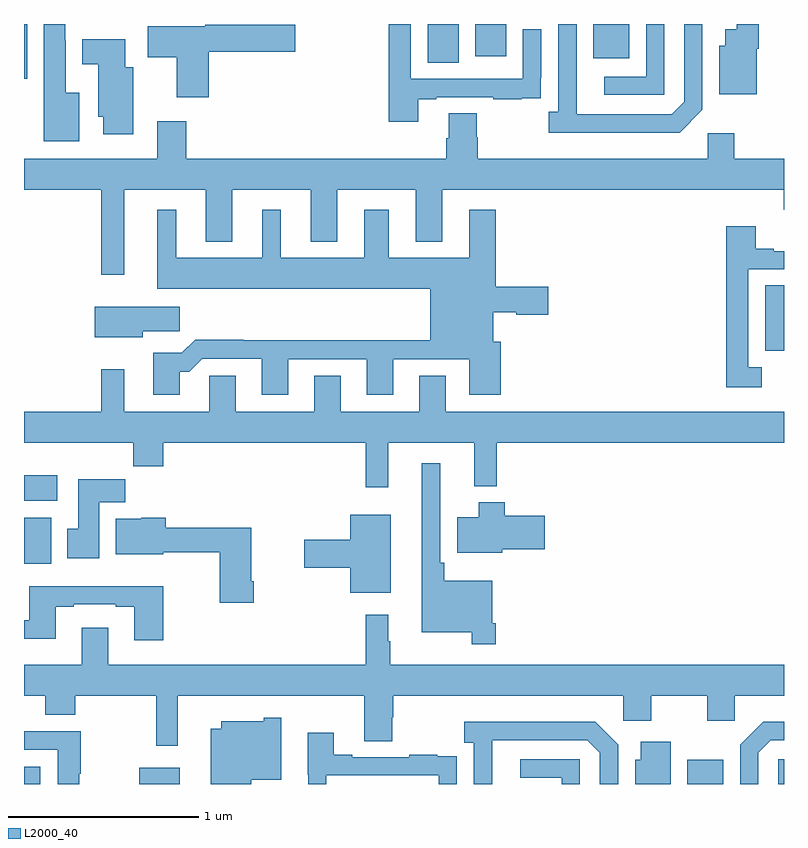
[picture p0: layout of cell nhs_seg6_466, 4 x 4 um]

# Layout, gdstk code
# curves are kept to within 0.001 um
import gdstk
lib = gdstk.Library(unit=1e-6, precision=1e-09)
def R(c, l, rs):  # rectangles x0, y0, x1, y1
    for r in rs: c.add(gdstk.rectangle(r[:2], r[2:], *l))
def P(c, l, *ps):  # polygons
    for p in ps: c.add(gdstk.Polygon(p, *l))
L2000_40 = (2000, 40)

nhs_seg6_466 = lib.new_cell('nhs_seg6_466')
R(nhs_seg6_466, L2000_40, [(137,985.5,137.086,985.591), (137.606,985.5,137.821,985.585), (140.492,985.5,140.68,985.627), (140.97,985.5,141,985.629), (137,986.66,137.143,986.902), (137,986.99,137.176,987.124), (140.9,987.781,141,988.124), (137,989.213,137.017,989.5), (139.124,989.296,139.288,989.5), (139.997,989.321,140.185,989.5), (139.376,989.331,139.537,989.5)])
P(nhs_seg6_466, L2000_40, [(140.856,989.369),(140.867,989.369),(140.867,989.5),(140.75,989.5),(140.75,989.473),(140.69,989.473),(140.69,989.386),(140.66,989.386),(140.66,989.129),(140.856,989.129)],
  [(140.571,989.049),(140.571,989.5),(140.475,989.5),(140.475,989.091),(140.409,989.025),(139.909,989.025),(139.908,989.5),(139.812,989.5),(139.812,989.038),(139.761,989.038),(139.761,988.928),(140.45,988.928)],
  [(139.075,989.103),(139.171,989.103),(139.171,989.115),(139.471,989.115),(139.471,989.103),(139.619,989.103),(139.619,989.109),(139.721,989.109),(139.721,989.218),(139.722,989.218),(139.722,989.473),(139.626,989.473),(139.626,989.211),(139.035,989.211),(139.035,989.5),(138.919,989.5),(138.919,988.986),(139.075,988.986)],
  [(140.37,989.5),(140.274,989.5),(140.274,989.223),(140.055,989.223),(140.055,989.127),(140.37,989.127)],
  [(137.29,989.137),(137.221,989.137),(137.221,989.411),(137.217,989.411),(137.217,989.5),(137.105,989.5),(137.105,988.883),(137.29,988.883)],
  [(137.972,989.354),(138.427,989.354),(138.427,989.496),(137.955,989.496),(137.955,989.488),(137.652,989.488),(137.652,989.326),(137.804,989.326),(137.804,989.115),(137.972,989.115)],
  [(137.575,989.272),(137.533,989.272),(137.533,989.419),(137.306,989.419),(137.306,989.288),(137.39,989.288),(137.39,989.013),(137.417,989.013),(137.417,988.92),(137.575,988.92)],
  [(137.527,988.628),(137.957,988.628),(137.957,988.355),(138.097,988.355),(138.097,988.628),(138.509,988.628),(138.509,988.355),(138.649,988.355),(138.649,988.628),(139.061,988.628),(139.061,988.355),(139.201,988.355),(139.201,988.628),(140.999,988.628),(140.999,988.522),(141,988.522),(141,988.792),(140.737,988.792),(140.737,988.924),(140.598,988.924),(140.598,988.792),(139.388,988.792),(139.388,988.905),(139.383,988.905),(139.383,989.03),(139.235,989.03),(139.235,988.898),(139.223,988.898),(139.223,988.792),(137.855,988.792),(137.855,988.987),(137.702,988.987),(137.702,988.792),(137,988.792),(137,988.628),(137.406,988.628),(137.406,988.179),(137.527,988.179)],
  [(137.821,987.671),(137.87,987.671),(137.937,987.738),(138.251,987.738),(138.251,987.549),(138.391,987.549),(138.391,987.735),(138.803,987.735),(138.803,987.549),(138.943,987.549),(138.943,987.735),(139.343,987.735),(139.343,987.549),(139.508,987.549),(139.508,987.828),(139.471,987.828),(139.471,987.983),(139.591,987.983),(139.591,987.971),(139.759,987.971),(139.759,988.118),(139.484,988.118),(139.484,988.522),(139.343,988.522),(139.343,988.27),(138.919,988.27),(138.919,988.522),(138.791,988.522),(138.791,988.27),(138.352,988.27),(138.352,988.522),(138.254,988.522),(138.254,988.27),(137.8,988.27),(137.8,988.522),(137.702,988.522),(137.702,988.106),(139.139,988.106),(139.139,987.836),(138.155,987.836),(138.155,987.839),(137.9,987.839),(137.83,987.769),(137.681,987.769),(137.681,987.549),(137.821,987.549)],
  [(140.884,987.693),(140.811,987.693),(140.811,988.209),(141,988.209),(141,988.305),(140.947,988.305),(140.947,988.318),(140.851,988.318),(140.851,988.435),(140.695,988.435),(140.695,987.588),(140.884,987.588)],
  [(137.626,987.883),(137.821,987.883),(137.821,988.012),(137.372,988.012),(137.372,987.851),(137.626,987.851)],
  [(138.917,987.296),(139.37,987.296),(139.37,987.068),(139.487,987.068),(139.487,987.296),(141,987.296),(141,987.46),(139.219,987.46),(139.219,987.65),(139.079,987.65),(139.079,987.46),(138.667,987.46),(138.667,987.65),(138.527,987.65),(138.527,987.46),(138.115,987.46),(138.115,987.65),(137.976,987.65),(137.976,987.46),(137.527,987.46),(137.527,987.682),(137.406,987.682),(137.406,987.46),(137,987.46),(137,987.296),(137.575,987.296),(137.575,987.172),(137.732,987.172),(137.732,987.296),(138.799,987.296),(138.799,987.063),(138.917,987.063)],
  [(139.484,986.347),(139.464,986.347),(139.464,986.569),(139.211,986.569),(139.211,986.665),(139.191,986.665),(139.191,987.187),(139.094,987.187),(139.094,986.3),(139.356,986.3),(139.356,986.235),(139.484,986.235)],
  [(137.395,986.984),(137.534,986.984),(137.534,987.103),(137.285,987.103),(137.285,986.844),(137.228,986.844),(137.228,986.688),(137.395,986.688)],
  [(139.516,986.735),(139.741,986.735),(139.741,986.913),(139.529,986.913),(139.529,986.983),(139.394,986.983),(139.394,986.905),(139.28,986.905),(139.28,986.717),(139.516,986.717)],
  [(138.931,986.917),(138.716,986.917),(138.716,986.786),(138.474,986.786),(138.474,986.639),(138.716,986.639),(138.716,986.507),(138.931,986.507)],
  [(138.209,986.566),(138.196,986.566),(138.196,986.848),(137.747,986.848),(137.747,986.902),(137.616,986.902),(137.616,986.896),(137.483,986.896),(137.483,986.708),(137.734,986.708),(137.734,986.719),(138.031,986.719),(138.031,986.454),(138.209,986.454)],
  [(137.732,986.542),(137.027,986.542),(137.027,986.361),(137,986.361),(137,986.264),(137.167,986.264),(137.167,986.433),(137.263,986.433),(137.263,986.445),(137.483,986.445),(137.483,986.433),(137.579,986.433),(137.579,986.256),(137.732,986.256)],
  [(137.808,985.964),(138.791,985.964),(138.791,985.726),(138.939,985.726),(138.939,985.851),(138.944,985.851),(138.944,985.964),(140.154,985.964),(140.154,985.833),(140.301,985.833),(140.301,985.964),(140.596,985.964),(140.596,985.833),(140.742,985.833),(140.742,985.964),(141,985.964),(141,986.128),(138.928,986.128),(138.928,986.252),(138.916,986.252),(138.916,986.392),(138.799,986.392),(138.799,986.128),(137.443,986.128),(137.443,986.323),(137.303,986.323),(137.303,986.128),(137,986.128),(137,985.964),(137.111,985.964),(137.111,985.865),(137.271,985.865),(137.271,985.964),(137.697,985.964),(137.697,985.701),(137.808,985.701)],
  [(138.196,985.523),(138.355,985.523),(138.355,985.849),(138.261,985.849),(138.261,985.831),(138.038,985.831),(138.038,985.792),(137.984,985.792),(137.984,985.5),(138.196,985.5)],
  [(139.464,985.531),(139.465,985.731),(139.965,985.731),(140.031,985.665),(140.031,985.5),(140.127,985.5),(140.127,985.707),(140.006,985.828),(139.317,985.828),(139.317,985.718),(139.368,985.718),(139.368,985.5),(139.464,985.5)],
  [(140.865,985.665),(140.931,985.731),(141,985.731),(141,985.828),(140.89,985.828),(140.769,985.707),(140.769,985.5),(140.865,985.5)],
  [(137.29,985.555),(137.298,985.555),(137.298,985.778),(137,985.778),(137,985.68),(137.177,985.68),(137.177,985.5),(137.29,985.5)],
  [(138.591,985.545),(139.182,985.545),(139.182,985.5),(139.278,985.5),(139.278,985.538),(139.277,985.538),(139.277,985.647),(139.175,985.647),(139.175,985.654),(139.027,985.654),(139.027,985.641),(138.727,985.641),(138.727,985.654),(138.631,985.654),(138.631,985.771),(138.494,985.771),(138.494,985.548),(138.495,985.548),(138.495,985.5),(138.591,985.5)],
  [(140.404,985.723),(140.246,985.723),(140.246,985.627),(140.216,985.627),(140.216,985.5),(140.404,985.5)],
  [(139.926,985.629),(139.611,985.629),(139.611,985.533),(139.83,985.533),(139.83,985.5),(139.926,985.5)])

lib.write_gds('nhs_seg6_466.gds')
